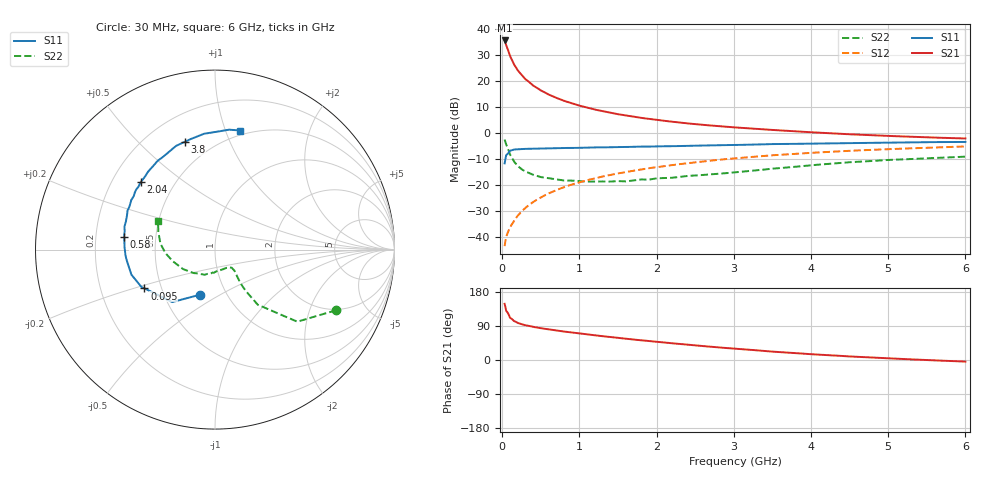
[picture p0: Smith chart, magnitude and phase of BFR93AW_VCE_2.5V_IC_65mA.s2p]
! Infineon Technologies  Discrete & RF Semiconductors
! BFR93AW
! VCE =  2.5 V,  IC =  65 mA
! Common Emitter S-Parameters:  Nov 2015
# GHz  S  MA  R  50
!  f  S11  S21  S12  S22
! GHz  MAG  ANG  MAG  ANG  MAG  ANG  MAG  ANG
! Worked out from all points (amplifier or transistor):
!   206 points, 30 MHz to 6 GHz, reference 50 ohm
!   highest |S21| = 35.6 dB at 30 MHz (marker M1)
!   |S21| within 3 dB of that: start of sweep to 66.14 MHz
!   unconditionally stable (mu >= 1): 243 MHz to 2.371 GHz
!   at 200 MHz: K = 0.97, MSG = 27.9 dB, |S12| = -31.7 dB
!   at 1.56 GHz: K = 1.05, MAG = 9.6 dB, |S12| = -15.1 dB
!   at 6 GHz: K = 0.95, MSG = 1.5 dB, |S12| = -5.1 dB
!   S11 on the Smith chart (normalised r, x): 30 MHz: 0.76, -0.41; 95 MHz: 0.40, -0.22; 580 MHz: 0.33, +0.06; 2.04 GHz: 0.32, +0.35; 3.8 GHz: 0.35, +0.70; 6 GHz: 0.46, +1.12
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0.03  0.2636 -108.0  59.97 148.3  0.0068 69.4  0.7547 -26.6
0.05  0.3774 -129.2  48.98 130.1  0.0102 66.6  0.6099 -41.2
0.095  0.4487 -151.2  31.68 114.2  0.0149 67.6  0.4096 -50.6
0.1  0.4599 -153.2  30.01 111.4  0.0155 67.6  0.3884 -52.2
0.15  0.4862 -163.3  20.93 103.1  0.0204 68.3  0.2866 -53.4
0.2  0.49 -169.1  16.04 97.9  0.0261 71.0  0.2345 -52.8
0.24  0.4949 -172.7  13.54 95.2  0.0303 73.1  0.2086 -51.5
0.26  0.497 -174.2  12.51 93.9  0.0325 73.7  0.1986 -50.8
0.3  0.4998 -176.4  10.85 91.6  0.0369 74.3  0.1844 -49.7
0.4  0.5041 178.4  8.177 87.3  0.0478 75.6  0.159 -47.2
0.5  0.5068 174.6  6.589 83.8  0.0585 76.2  0.1438 -47.3
0.58  0.5107 172.1  5.725 81.4  0.0675 76.0  0.1381 -47.4
0.8  0.5205 165.8  4.168 75.1  0.0921 75.3  0.1237 -52.9
1.04  0.5246 159.5  3.251 69.1  0.1185 73.7  0.1191 -60.2
1.5  0.5421 149.5  2.307 58.4  0.1688 69.6  0.1204 -79.4
2.02  0.559 137.9  1.777 47.5  0.2249 64.6  0.1365 -100.8
2.04  0.5592 137.6  1.764 47.2  0.2271 64.3  0.1368 -101.3
3.1  0.5965 117.3  1.263 28.6  0.3369 52.7  0.1814 -135.8
3.8  0.6238 105.6  1.084 18.2  0.4021 44.7  0.2273 -158.7
4.1  0.6333 101.0  1.022 14.2  0.4275 41.2  0.2491 -166.9
5.1  0.6592 88.0  0.874 3.4  0.5 30.0  0.31 171.3
6  0.6781 78.1  0.791 -4.2  0.5561 20.7  0.3543 153.5
